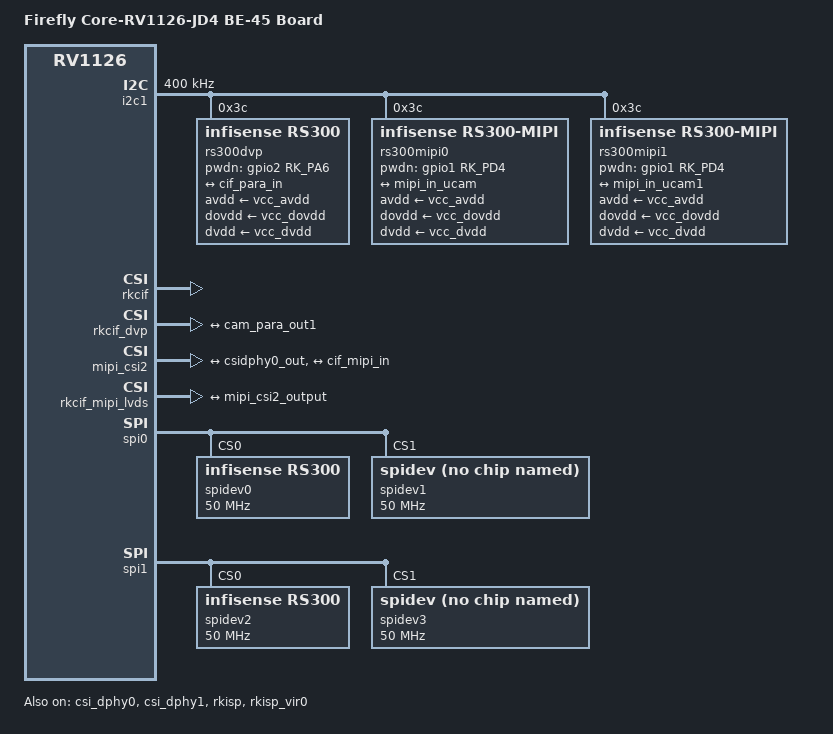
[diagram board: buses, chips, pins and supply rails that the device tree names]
// SPDX-License-Identifier: (GPL-2.0+ OR MIT)
/*
 * Copyright (c) 2020 Rockchip Electronics Co., Ltd.
 */
/dts-v1/;
#include "rv1126.dtsi"
#include "rv1126-firefly-jd4-BE-45.dtsi"
/ {
	model = "Firefly Core-RV1126-JD4 BE-45 Board";
	compatible = "rockchip,rv1126-evb-ddr3-v12", "rockchip,rv1126";
	chosen {			
                bootargs = "earlycon=uart8250,mmio32,0xff570000 console=ttyFIQ0 ro root=PARTLABEL=rootfs rootfstype=ext4 rootwait overlayroot=device:dev=PARTLABEL=userdata,fstype=ext4,mkfs=1 cgroup_enable=memory swapaccount=1 snd_aloop.index=7";
        };
};
//root=PARTLABEL=backup 去掉overlayroot 可以切换其它文件系统启动
&i2c1 {
	status = "okay";
	clock-frequency = <400000>;
	
	rs300dvp: rs300dvp@3c {
		//status = "disabled";
		status = "okay";
		compatible = "infisense,rs300"; //rs300-dvp
		reg = <0x3c>;
		clocks = <&cru CLK_CIF_OUT>;
		clock-names = "xvclk";
		avdd-supply = <&vcc_avdd>;
		dovdd-supply = <&vcc_dovdd>;
		dvdd-supply = <&vcc_dvdd>;
		power-domains = <&power RV1126_PD_VI>;
		pwdn-gpios = <&gpio2 RK_PA6 GPIO_ACTIVE_HIGH>;
		/*reset-gpios = <&gpio2 RK_PC5 GPIO_ACTIVE_HIGH>;*/
		rockchip,grf = <&grf>;
		pinctrl-names = "default";
		pinctrl-0 = <&cifm0_dvp_ctl_15_8>;
		rockchip,camera-module-index = <0>;
		rockchip,camera-module-facing = "back";
		rockchip,camera-module-name = "CMK-OT0836-PT2";
		rockchip,camera-module-lens-name = "YT-2929";
		port {
			cam_para_out1: endpoint {
				 remote-endpoint = <&cif_para_in>; 
			};
		};
	};
	rs300mipi0: rs300mipi0@3c {
		status = "okay";
		compatible = "infisense,rs300-mipi";
		reg = <0x3c>;
		clocks = <&cru CLK_MIPICSI_OUT>;
		clock-names = "xvclk";
		power-domains = <&power RV1126_PD_VI>;
		pinctrl-names = "rockchip,camera_default";
		pinctrl-0 = <&mipicsi_clk0>;
		avdd-supply = <&vcc_avdd>;
		dovdd-supply = <&vcc_dovdd>;
		dvdd-supply = <&vcc_dvdd>;
		pwdn-gpios = <&gpio1 RK_PD4 GPIO_ACTIVE_HIGH>;
		rockchip,camera-module-index = <0>;
		rockchip,camera-module-facing = "front";
		rockchip,camera-module-name = "CMK-OT1607-FV1";
		rockchip,camera-module-lens-name = "M12-40IRC-4MP-F16";
		port {
			ucam_out: endpoint {
				remote-endpoint = <&mipi_in_ucam>;
				data-lanes = <1 2>;
			};
		};
	};
	rs300mipi1: rs300mipi1@3c {
		status = "okay";
		compatible = "infisense,rs300-mipi";
		reg = <0x3c>;
		clocks = <&cru CLK_MIPICSI_OUT>;
		clock-names = "xvclk";
		power-domains = <&power RV1126_PD_VI>;
		pinctrl-names = "rockchip,camera_default";
		pinctrl-0 = <&mipicsi_clk1>;
		avdd-supply = <&vcc_avdd>;
		dovdd-supply = <&vcc_dovdd>;
		dvdd-supply = <&vcc_dvdd>;
		pwdn-gpios = <&gpio1 RK_PD4 GPIO_ACTIVE_HIGH>;
		rockchip,camera-module-index = <1>;
		rockchip,camera-module-facing = "back";
		rockchip,camera-module-name = "CMK-OT1607-FV-1";
		rockchip,camera-module-lens-name = "M12-40IRC-4MP-F16-1";
		port {
			ucam_out1: endpoint {
				remote-endpoint = <&mipi_in_ucam1>;
				data-lanes = <1 2>;
			};
		};
	};


};

&rkcif {
	status = "okay";
};

&rkcif_mmu {
	status = "okay";
};

/*sensor->rkcif */
&rkcif_dvp {
	status = "okay";

	port {
		/* Parallel bus endpoint */
		
		cif_para_in: endpoint {
			remote-endpoint = <&cam_para_out1>;
			bus-width = <8>;
			hsync-active = <1>;
			vsync-active = <0>;
			pclk-sample = <0>;
		};
		
	};
};

/*sensor->csi dphy->mipi csi host->rkcif */
&csi_dphy0 {
	status = "okay";

	ports {
		#address-cells = <1>;
		#size-cells = <0>;
		port@0 {
			reg = <0>;
			#address-cells = <1>;
			#size-cells = <0>;

			mipi_in_ucam: endpoint@1 {
				reg = <1>;
				remote-endpoint = <&ucam_out>;
				data-lanes = <1 2>;
			};
		};
		port@1 {
			reg = <1>;
			#address-cells = <1>;
			#size-cells = <0>;

			csidphy0_out: endpoint@0 {
				reg = <0>;
				remote-endpoint = <&mipi_csi2_input>;
			};
		};
	};
};

&csi_dphy1 {
	status = "okay";
	ports {
		port@0 {
			mipi_in_ucam1: endpoint@1 {
				remote-endpoint = <&ucam_out1>;
				data-lanes = <1 2>;
			};
		};
		port@1 {
			csidphy1_out: endpoint@0 {
				remote-endpoint = <&isp_in>;
				data-lanes = <1 2>;
			};
		};
	};
};

&mipi_csi2 {
	status = "okay";

	ports {
		#address-cells = <1>;
		#size-cells = <0>;

		port@0 {
			reg = <0>;
			#address-cells = <1>;
			#size-cells = <0>;

			mipi_csi2_input: endpoint@1 {
				reg = <1>;
				remote-endpoint = <&csidphy0_out>;
				data-lanes = <1 2>;
			};
		};

		port@1 {
			reg = <1>;
			#address-cells = <1>;
			#size-cells = <0>;

			mipi_csi2_output: endpoint@0 {
				reg = <0>;
				remote-endpoint = <&cif_mipi_in>;
				data-lanes = <1 2>;
			};
		};
	};
};

&rkcif_mipi_lvds {
	status = "okay";

	port {
		/* MIPI CSI-2 endpoint */
		cif_mipi_in: endpoint {
			remote-endpoint = <&mipi_csi2_output>;
			data-lanes = <1 2>;
		};
	};
};
&os04a10 {
 status = "disabled";
};
&pinctrl {
	cif	{
		cifm0_dvp_ctl_15_8: cifm0_dvp_ctl_15_8 {
                        rockchip,pins =
                                /* cif_clkin_m0 */
                                <3 RK_PC5 1 &pcfg_pull_none>,
                                /* cif_clkout_m0 */
                                <3 RK_PC6 1 &pcfg_pull_none>,
                                /* cif_d10_m0 */
                                <3 RK_PB6 1 &pcfg_pull_none>,
                                /* cif_d11_m0 */
                                <3 RK_PB7 1 &pcfg_pull_none>,
                                /* cif_d12_m0 */
                                <3 RK_PC0 1 &pcfg_pull_none>,
                                /* cif_d13_m0 */
                                <3 RK_PC1 1 &pcfg_pull_none>,
                                /* cif_d14_m0 */
                                <3 RK_PC2 1 &pcfg_pull_none>,
                                /* cif_d15_m0 */
                                <3 RK_PC3 1 &pcfg_pull_none>,
                                /* cif_d8_m0 */
                                <3 RK_PB4 1 &pcfg_pull_none>,
                                /* cif_d9_m0 */
                                <3 RK_PB5 1 &pcfg_pull_none>,
                                /* cif_hsync_m0 */
                                <3 RK_PC7 1 &pcfg_pull_none>,
                                /* cif_vsync_m0 */
                                <3 RK_PC4 1 &pcfg_pull_none>;
                };
		
	
	};
};

&spi0 {
        status = "okay";
        pinctrl-names = "default", "high_speed";
        pinctrl-0 = <&spi0m1_cs0 &spi0m1_pins>;
        pinctrl-1 = <&spi0m1_cs0 &spi0m1_pins_hs>;
		assigned-clocks = <&pmucru CLK_SPI0>;
		assigned-clock-rates = <100000000>;
        spidev0: spidev@00 {
                status = "okay";
                compatible = "infisense,rs300";
                reg = <0x00>;
                spi-max-frequency = <50000000>;
        };
		spidev1: spidev@01 {
                status = "okay";
                compatible = "linux,spidev";
                reg = <0x01>;
                spi-max-frequency = <50000000>;
        };
};
&uart3{
	status = "disabled";
};
&spi1 {
        status = "okay";
        pinctrl-names = "default", "high_speed";
        pinctrl-0 = <&spi1m2_cs0 &spi1m2_pins>;
        pinctrl-1 = <&spi1m2_cs0 &spi1m2_pins_hs>;
		assigned-clocks = <&cru CLK_SPI1>;
		assigned-clock-rates = <100000000>;
		dma-names = "tx","rx";
        spidev2: spidev@00 {
                status = "okay";
                compatible = "infisense,rs300";
                reg = <0x00>;
                spi-max-frequency = <50000000>;
        };
		spidev3: spidev@01 {
                status = "okay";
                compatible = "linux,spidev";
                reg = <0x01>;
                spi-max-frequency = <50000000>;
        };
};

&rkcif_dvp_sditf{
	status = "disabled";
	port{
	dvp_sditf: endpoint {
		remote-endpoint = <&isp_in>;
		bus-width = <8>;
		hsync-active = <1>;
		vsync-active = <0>;
		pclk-sample = <0>;
		};
	};
};

&rkisp {
	status = "okay"; 
};

/*
&rkisp_vir0 { 
		status = "okay";
		ports { 
			port@0 { 
			reg = <0>; 
			#address-cells = <1>; 
			#size-cells = <0>; 
			isp_in: endpoint@0 { 
				reg = <0>; //dvp sditf的端点名 
				remote-endpoint = <&dvp_sditf>; 
			}; 
		}; 
	}; 
};*/

&rkisp_vir0 {
	status = "okay";
	ports {
		port@0 {
			isp_in: endpoint@0 {
				remote-endpoint = <&csidphy1_out>;
			};
		};
	};
};
